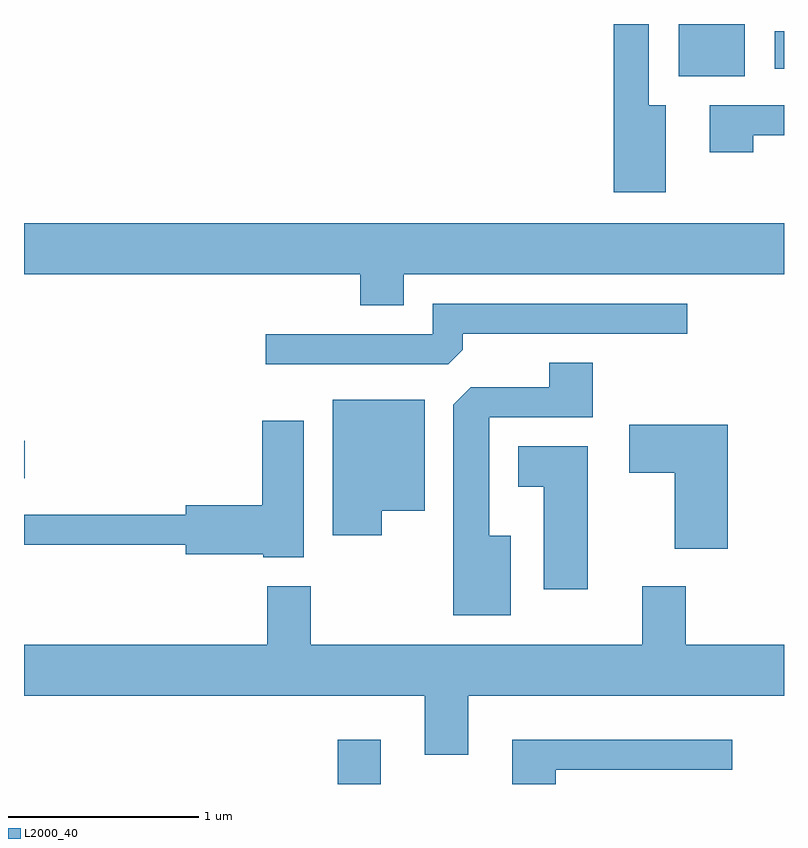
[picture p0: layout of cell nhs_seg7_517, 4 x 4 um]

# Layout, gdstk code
import gdstk
lib = gdstk.Library(unit=1e-6, precision=1e-09)
def R(c, l, rs):  # rectangles x0, y0, x1, y1
    for r in rs: c.add(gdstk.rectangle(r[:2], r[2:], *l))
def P(c, l, *ps):  # polygons
    for p in ps: c.add(gdstk.Polygon(p, *l))
L2000_40 = (2000, 40)

nhs_seg7_517 = lib.new_cell('nhs_seg7_517')
R(nhs_seg7_517, L2000_40, [(201.261,1758.252,201.489,1758.484), (199.611,1759.861,199.614,1760.059), (203.056,1761.976,203.404,1762.252), (203.561,1762.016,203.611,1762.214)])
P(nhs_seg7_517, L2000_40, [(202.989,1761.824),(202.899,1761.824),(202.899,1762.252),(202.716,1762.252),(202.716,1761.366),(202.989,1761.366)],
  [(203.449,1761.666),(203.611,1761.666),(203.611,1761.824),(203.221,1761.824),(203.221,1761.576),(203.449,1761.576)],
  [(201.609,1760.936),(203.611,1760.936),(203.611,1761.204),(199.611,1761.204),(199.611,1760.936),(201.381,1760.936),(201.381,1760.771),(201.609,1760.771)],
  [(201.919,1760.537),(201.919,1760.621),(203.103,1760.621),(203.103,1760.779),(201.761,1760.779),(201.761,1760.619),(200.883,1760.619),(200.883,1760.461),(201.844,1760.461)],
  [(202.174,1759.559),(202.059,1759.559),(202.059,1760.181),(202.604,1760.181),(202.604,1760.469),(202.376,1760.469),(202.376,1760.339),(201.962,1760.339),(201.871,1760.249),(201.871,1759.141),(202.174,1759.141)],
  [(201.494,1759.691),(201.719,1759.691),(201.719,1760.274),(201.236,1760.274),(201.236,1759.561),(201.494,1759.561)],
  [(201.084,1760.164),(200.866,1760.164),(200.866,1759.719),(200.461,1759.719),(200.461,1759.669),(199.611,1759.669),(199.611,1759.511),(200.461,1759.511),(200.461,1759.461),(200.87,1759.461),(200.87,1759.446),(201.084,1759.446)],
  [(203.314,1760.144),(202.796,1760.144),(202.796,1759.891),(203.036,1759.891),(203.036,1759.491),(203.314,1759.491)],
  [(202.579,1760.029),(202.211,1760.029),(202.211,1759.816),(202.346,1759.816),(202.346,1759.276),(202.579,1759.276)],
  [(201.949,1758.716),(203.611,1758.716),(203.611,1758.984),(203.094,1758.984),(203.094,1759.294),(202.866,1759.294),(202.866,1758.984),(201.119,1758.984),(201.119,1759.294),(200.891,1759.294),(200.891,1758.984),(199.611,1758.984),(199.611,1758.716),(201.721,1758.716),(201.721,1758.406),(201.949,1758.406)],
  [(202.409,1758.326),(203.338,1758.326),(203.338,1758.484),(202.181,1758.484),(202.181,1758.252),(202.409,1758.252)])

lib.write_gds('nhs_seg7_517.gds')
